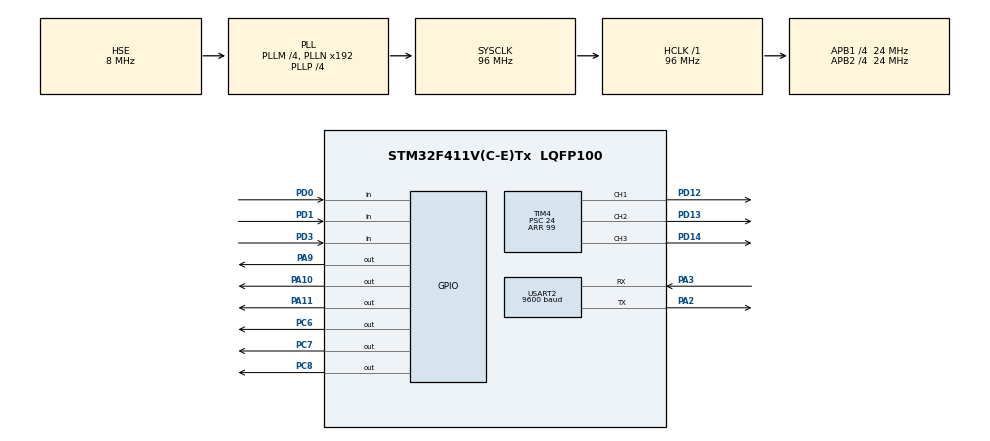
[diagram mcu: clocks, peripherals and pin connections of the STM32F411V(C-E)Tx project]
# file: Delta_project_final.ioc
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Mcu.Family=STM32F4
Mcu.Name=STM32F411V(C-E)Tx
Mcu.Package=LQFP100
NVIC.PriorityGroup=NVIC_PRIORITYGROUP_4
NVIC.TIM3_IRQn=true\:2\:0\:true\:false\:true\:true\:true\:true
NVIC.USART2_IRQn=true\:0\:0\:false\:false\:true\:true\:true\:true
PA10.GPIO_PuPd=GPIO_NOPULL
PA10.GPIO_Speed=GPIO_SPEED_FREQ_VERY_HIGH
PA10.Signal=GPIO_Output
PA11.GPIO_Speed=GPIO_SPEED_FREQ_VERY_HIGH
PA11.Signal=GPIO_Output
PA13.Mode=Serial_Wire
PA13.Signal=SYS_JTMS-SWDIO
PA14.Mode=Serial_Wire
PA14.Signal=SYS_JTCK-SWCLK
PA2.Mode=Asynchronous
PA2.Signal=USART2_TX
PA3.Mode=Asynchronous
PA3.Signal=USART2_RX
PA9.GPIO_PuPd=GPIO_NOPULL
PA9.GPIO_Speed=GPIO_SPEED_FREQ_VERY_HIGH
PA9.Signal=GPIO_Output
PC6.GPIO_PuPd=GPIO_NOPULL
PC6.GPIO_Speed=GPIO_SPEED_FREQ_VERY_HIGH
PC6.Signal=GPIO_Output
PC7.GPIO_PuPd=GPIO_NOPULL
PC7.GPIO_Speed=GPIO_SPEED_FREQ_VERY_HIGH
PC7.Signal=GPIO_Output
PC8.GPIO_PuPd=GPIO_NOPULL
PC8.GPIO_Speed=GPIO_SPEED_FREQ_VERY_HIGH
PC8.Signal=GPIO_Output
PD0.Signal=GPIO_Input
PD1.Signal=GPIO_Input
PD12.GPIO_Speed=GPIO_SPEED_FREQ_VERY_HIGH
PD12.Signal=S_TIM4_CH1
PD13.GPIO_Speed=GPIO_SPEED_FREQ_VERY_HIGH
PD13.Signal=S_TIM4_CH2
PD14.GPIO_Speed=GPIO_SPEED_FREQ_VERY_HIGH
PD14.Signal=S_TIM4_CH3
PD3.Signal=GPIO_Input
PH0\ -\ OSC_IN.Mode=HSE-External-Oscillator
PH0\ -\ OSC_IN.Signal=RCC_OSC_IN
PH1\ -\ OSC_OUT.Mode=HSE-External-Oscillator
PH1\ -\ OSC_OUT.Signal=RCC_OSC_OUT
ProjectManager.HeapSize=0x200
ProjectManager.StackSize=0x400
ProjectManager.TargetToolchain=STM32CubeIDE
RCC.48MHZClocksFreq_Value=96000000
RCC.AHBFreq_Value=96000000
RCC.APB1CLKDivider=RCC_HCLK_DIV4
RCC.APB1Freq_Value=24000000
RCC.APB1TimFreq_Value=48000000
RCC.APB2CLKDivider=RCC_HCLK_DIV4
RCC.APB2Freq_Value=24000000
RCC.APB2TimFreq_Value=48000000
RCC.CortexFreq_Value=96000000
RCC.HCLKFreq_Value=96000000
RCC.HSE_VALUE=8000000
RCC.HSI_VALUE=16000000
RCC.LSE_VALUE=32768
RCC.PLLM=4
RCC.PLLP=RCC_PLLP_DIV4
RCC.PLLSourceVirtual=RCC_PLLSOURCE_HSE
RCC.SYSCLKFreq_VALUE=96000000
RCC.SYSCLKSource=RCC_SYSCLKSOURCE_PLLCLK
RCC.VCOOutputFreq_Value=384000000
SH.S_TIM4_CH1.0=TIM4_CH1,PWM Generation1 CH1
SH.S_TIM4_CH2.0=TIM4_CH2,PWM Generation2 CH2
SH.S_TIM4_CH3.0=TIM4_CH3,PWM Generation3 CH3
TIM3.Period=19
TIM3.Prescaler=24000
TIM4.Channel-PWM\ Generation1\ CH1=TIM_CHANNEL_1
TIM4.Channel-PWM\ Generation2\ CH2=TIM_CHANNEL_2
TIM4.Channel-PWM\ Generation3\ CH3=TIM_CHANNEL_3
TIM4.Period=99
TIM4.Prescaler=24
USART2.BaudRate=9600
USART2.VirtualMode=VM_ASYNC
VP_TIM3_VS_ClockSourceINT.Mode=Internal
VP_TIM4_VS_ClockSourceINT.Mode=Internal
board=custom

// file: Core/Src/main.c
/* USER CODE BEGIN Header */
/**
  ******************************************************************************
  * @file           : main.c
  * @brief          : Main program body
  ******************************************************************************
  * @attention
  *
  * Copyright (c) 2023 STMicroelectronics.
  * All rights reserved.
  *
  * This software is licensed under terms that can be found in the LICENSE file
  * in the root directory of this software component.
  * If no LICENSE file comes with this software, it is provided AS-IS.
  *
  ******************************************************************************
  */
/* USER CODE END Header */
#include "main.h"

/* USER CODE BEGIN Includes */
#include "string.h"
#include "math.h"
#include "stdio.h"
/* USER CODE END Includes */

TIM_HandleTypeDef htim3;
TIM_HandleTypeDef htim4;

UART_HandleTypeDef huart2;

void SystemClock_Config(void);
void MX_GPIO_Init(void);
void MX_TIM3_Init(void);
void MX_TIM4_Init(void);
void MX_USART2_UART_Init(void);

/* USER CODE BEGIN 0 */
uint8_t receive_data[25];
uint8_t send_data[16];
//bien Encoder
int16_t encoder1 =0 ,encoder2 = 0,encoder3 = 0;
int16_t encoder1_prv = 0, encoder2_prv = 0, encoder3_prv = 0;
int16_t e1_prv = 0, e2_prv = 0, e3_prv = 0;
int16_t denta = 0;
int16_t vantoc = 0;
//bien goc quay , xung quay
double goc_quay1 = 0, goc_quay2 = 0, goc_quay3 = 0;
double set_point1 = 0, set_point2 = 0, set_point3 = 0;
int16_t xung_quay1 = 0, xung_quay2 = 0, xung_quay3 = 0;
//dong co 1
int16_t e1 = 0, tong_e1 = 0;
double P1 = 0, I1 = 0, D1 = 0;
double duty1 = 0;
double kp1 =1.2, ki1 = 0, kd1 = 0.03;
//dong co 2
int16_t e2 = 0, tong_e2 = 0;
double P2 = 0, I2 = 0, D2 = 0;
double duty2 = 0;
double kp2 = 1.3, ki2 = 0, kd2 = 0.03;
//dong co 3
int16_t e3 = 0, tong_e3 = 0;
double P3 = 0, I3 = 0, D3 = 0;
double duty3 = 0;
double kp3 = 1.5, ki3 = 0, kd3 = 0.05;

int16_t t_truyen = 0;
int16_t t_nhan = 0;
int16_t t_kich = 0;
int16_t temp = 0;
void Receive_data(void);
/* USER CODE END 0 */

int main(void)
{

  /* MCU Configuration--------------------------------------------------------*/

  /* Reset of all peripherals, Initializes the Flash interface and the Systick. */
  HAL_Init();

  /* Configure the system clock */
  SystemClock_Config();

  /* Initialize all configured peripherals */
  MX_GPIO_Init();
  MX_TIM3_Init();
  MX_TIM4_Init();
  MX_USART2_UART_Init();
  /* USER CODE BEGIN 2 */

  HAL_TIM_Base_Start_IT(&htim3);

  HAL_TIM_PWM_Start(&htim4, TIM_CHANNEL_1);
  HAL_TIM_PWM_Start(&htim4, TIM_CHANNEL_2);
  HAL_TIM_PWM_Start(&htim4, TIM_CHANNEL_3);

  __HAL_UART_ENABLE_IT(&huart2, UART_IT_RXNE);
   __HAL_UART_ENABLE_IT(&huart2, UART_IT_TC);

   HAL_UART_Receive_IT(&huart2, receive_data, 22);

    receive_data[0] = 'A';			//A la goc theta1

     receive_data[1] = '0';			//0la +, 1 la-

     receive_data[2] = '0';
     receive_data[3] = '0';
     receive_data[4] = '0';
     receive_data[5] = '0';
     receive_data[6] = '0';

     receive_data[7] = 'B';			//B goc theta2

     receive_data[8] = '0';			//0la +, 1 la-

     receive_data[9] = '0';
     receive_data[10] = '0';
     receive_data[11] = '0';
     receive_data[12] = '0';
     receive_data[13] = '0';

     receive_data[14] = 'C';			//C goc theta3

     receive_data[15] = '0';			//0la +, 1 la-

     receive_data[16] = '0';
     receive_data[17] = '0';
     receive_data[18] = '0';
     receive_data[19] = '0';
     receive_data[20] = '0';

     receive_data[21] = 'N';			//chuoi he thong khi nen
     receive_data[22] = '0';
     receive_data[23] = '0';
     receive_data[24] = '0';

  /* USER CODE END 2 */

  /* Infinite loop */
  while (1)
  {

    /* USER CODE BEGIN 3 */
	  /////tinh xung cua cac dong co
	  	  	  xung_quay1 = goc_quay1/360;		//xung quay 1
//	  	  	  xung_quay1 = set_point1*998.4/360;
	  	  	  xung_quay1 = round(xung_quay1);

	  	  	  xung_quay2 = goc_quay2/360;		//xung quay 2
//	  	  	  xung_quay2 = set_point1*998.4/360;
	  	  	  xung_quay2 = round(xung_quay2);

	  	  	  xung_quay3 = goc_quay3/360;		//xung quay3
//	  	  	  xung_quay3 = set_point3*998.4/360;
	  	  	  xung_quay3 = round(xung_quay3);

	 t_nhan++;
	 if(t_nhan > 1000)
	 {
		 HAL_UART_Receive_IT(&huart2, receive_data, 25);
		 t_nhan = 0;
	 }
	 else if(receive_data[21] == 'E' || receive_data[21] == 'H' || receive_data[21] == 'S')
	 {
		 Receive_data();
	 }
	 else
	 {
		 if(receive_data[22] == '0' && receive_data[23] == '0' && receive_data[24] == '0')
		 {
			 HAL_GPIO_WritePin(GPIOA, GPIO_PIN_9, GPIO_PIN_SET);
			 HAL_GPIO_WritePin(GPIOA, GPIO_PIN_10, GPIO_PIN_SET);
			 HAL_GPIO_WritePin(GPIOA, GPIO_PIN_11, GPIO_PIN_SET);
		 }
		 if(receive_data[22]!='0')
		 {
			 HAL_GPIO_WritePin(GPIOA, GPIO_PIN_9, GPIO_PIN_RESET);
		 }
		 else HAL_GPIO_WritePin(GPIOA, GPIO_PIN_9, GPIO_PIN_SET);

		 if(receive_data[23]!='0')
		 {
			 HAL_GPIO_WritePin(GPIOA, GPIO_PIN_10, GPIO_PIN_RESET);
		 }
		 else HAL_GPIO_WritePin(GPIOA, GPIO_PIN_10, GPIO_PIN_SET);

		 if(receive_data[24]!='0')
		 {
			 HAL_GPIO_WritePin(GPIOA, GPIO_PIN_11, GPIO_PIN_RESET);
		 }
		 else HAL_GPIO_WritePin(GPIOA, GPIO_PIN_11, GPIO_PIN_SET);
	 }
  }
  /* USER CODE END 3 */
}

void HAL_UART_TxHalfCpltCallback(UART_HandleTypeDef *huart)
{
	if(&huart->Instance == &huart2.Instance)
	{
		HAL_UART_Receive_IT(&huart2, receive_data, 25);
	}
}
void Receive_data()
{
	goc_quay1 = (double)((receive_data[2] - 48)*10000 + (receive_data[3] - 48)*1000 +
			(receive_data[4] - 48)*100 + (receive_data[5] - 48)*10 + (receive_data[6] - 48))/100.0;
	goc_quay2 = (double)((receive_data[9] - 48)*10000 + (receive_data[10] - 48)*1000 +
			(receive_data[11] - 48)*100 + (receive_data[12] - 48)*10 + (receive_data[13] - 48))/100.0;
	goc_quay3 = (double)((receive_data[16] - 48)*10000 + (receive_data[17] - 48)*1000 +
				(receive_data[18] - 48)*100 + (receive_data[19] - 48)*10 + (receive_data[20] - 48))/100.0;
	if((receive_data[1]-48) == 1) goc_quay1 = -goc_quay1;
	if((receive_data[8]-48) == 1) goc_quay2 = -goc_quay2;
	if((receive_data[15]-48) == 1) goc_quay3 = -goc_quay3;
}
///A0abcdeB0abcdeC0abcdeE000
///E/H/S->dong co				N-> khi nen		000: tat het,100: bat bom 110: hut 101:tha

/////dong co: E -> end vi tri dong co		H-> home	S-> send data	vi tri dong co
/// khi nen: G-> gap 	T-> tha  B-> kich bom	-> O:tat bom	1-> valve 1		2-> valve 2

void HAL_TIM_PeriodElapsedCallback(TIM_HandleTypeDef *htim)
{
	if(htim->Instance == htim3.Instance)
	{
		/*Encoder read*/
		/*Set Home*/
		if(receive_data[21] == 'H')
		{
			if(HAL_GPIO_ReadPin(GPIOD, GPIO_PIN_0) == 0)
			{

				__HAL_TIM_SetCompare(&htim4, TIM_CHANNEL_1,0);
				HAL_GPIO_WritePin(GPIOC, GPIO_PIN_6, GPIO_PIN_SET);
			}

			else
			{
				__HAL_TIM_SetCompare(&htim4, TIM_CHANNEL_1,25);
				HAL_GPIO_WritePin(GPIOC, GPIO_PIN_6, GPIO_PIN_SET);
			}

			if(HAL_GPIO_ReadPin(GPIOD, GPIO_PIN_1) == 0)
			{

				__HAL_TIM_SetCompare(&htim4, TIM_CHANNEL_2,0);
				HAL_GPIO_WritePin(GPIOC, GPIO_PIN_7, GPIO_PIN_SET);
			}

			else
			{
				__HAL_TIM_SetCompare(&htim4, TIM_CHANNEL_2,25);
				HAL_GPIO_WritePin(GPIOC, GPIO_PIN_7, GPIO_PIN_SET);
			}

			if(HAL_GPIO_ReadPin(GPIOD, GPIO_PIN_3) == 0)
			{

				__HAL_TIM_SetCompare(&htim4, TIM_CHANNEL_3,0);
				HAL_GPIO_WritePin(GPIOC, GPIO_PIN_8, GPIO_PIN_SET);
			}

			else
			{
				__HAL_TIM_SetCompare(&htim4, TIM_CHANNEL_3,25);
				HAL_GPIO_WritePin(GPIOC, GPIO_PIN_8, GPIO_PIN_SET);
			}
		}
		//PID vitri
		else
		{
			if((receive_data[1] - 48) == '1')
			{
				HAL_GPIO_WritePin(GPIOC, GPIO_PIN_6, GPIO_PIN_RESET);
			}
			else
			{
				HAL_GPIO_WritePin(GPIOC, GPIO_PIN_6, GPIO_PIN_SET);
			}
			__HAL_TIM_SetCompare(&htim4,TIM_CHANNEL_1, 25);

			if((receive_data[8] - 48) == '1')
			{
				HAL_GPIO_WritePin(GPIOC, GPIO_PIN_7, GPIO_PIN_RESET);
			}
			else
			{
				HAL_GPIO_WritePin(GPIOC, GPIO_PIN_7, GPIO_PIN_SET);
			}
			__HAL_TIM_SetCompare(&htim4,TIM_CHANNEL_2, 25);

			if((receive_data[15] - 48) == '1')
			{
				HAL_GPIO_WritePin(GPIOC, GPIO_PIN_8, GPIO_PIN_RESET);
			}
			else
			{
				HAL_GPIO_WritePin(GPIOC, GPIO_PIN_8, GPIO_PIN_SET);
			}
			__HAL_TIM_SetCompare(&htim4,TIM_CHANNEL_3, 25);

		}
}

void SystemClock_Config(void)
{
  RCC_OscInitTypeDef RCC_OscInitStruct = {0};
  RCC_ClkInitTypeDef RCC_ClkInitStruct = {0};

  /** Configure the main internal regulator output voltage
  */
  __HAL_RCC_PWR_CLK_ENABLE();
  __HAL_PWR_VOLTAGESCALING_CONFIG(PWR_REGULATOR_VOLTAGE_SCALE1);

  /** Initializes the RCC Oscillators according to the specified parameters
  * in the RCC_OscInitTypeDef structure.
  */
  RCC_OscInitStruct.OscillatorType = RCC_OSCILLATORTYPE_HSE;
  RCC_OscInitStruct.HSEState = RCC_HSE_ON;
  RCC_OscInitStruct.PLL.PLLState = RCC_PLL_ON;
  RCC_OscInitStruct.PLL.PLLSource = RCC_PLLSOURCE_HSE;
  RCC_OscInitStruct.PLL.PLLM = 4;
  RCC_OscInitStruct.PLL.PLLN = 192;
  RCC_OscInitStruct.PLL.PLLP = RCC_PLLP_DIV4;
  RCC_OscInitStruct.PLL.PLLQ = 4;
  if (HAL_RCC_OscConfig(&RCC_OscInitStruct) != HAL_OK)
  {
    Error_Handler();
  }

  /** Initializes the CPU, AHB and APB buses clocks
  */
  RCC_ClkInitStruct.ClockType = RCC_CLOCKTYPE_HCLK|RCC_CLOCKTYPE_SYSCLK
                              |RCC_CLOCKTYPE_PCLK1|RCC_CLOCKTYPE_PCLK2;
  RCC_ClkInitStruct.SYSCLKSource = RCC_SYSCLKSOURCE_PLLCLK;
  RCC_ClkInitStruct.AHBCLKDivider = RCC_SYSCLK_DIV1;
  RCC_ClkInitStruct.APB1CLKDivider = RCC_HCLK_DIV4;
  RCC_ClkInitStruct.APB2CLKDivider = RCC_HCLK_DIV4;

  if (HAL_RCC_ClockConfig(&RCC_ClkInitStruct, FLASH_LATENCY_3) != HAL_OK)
  {
    Error_Handler();
  }
}

void MX_TIM3_Init(void)
{

  TIM_ClockConfigTypeDef sClockSourceConfig = {0};
  TIM_MasterConfigTypeDef sMasterConfig = {0};

  htim3.Instance = TIM3;
  htim3.Init.Prescaler = 24000;
  htim3.Init.CounterMode = TIM_COUNTERMODE_UP;
  htim3.Init.Period = 19;
  htim3.Init.ClockDivision = TIM_CLOCKDIVISION_DIV1;
  htim3.Init.AutoReloadPreload = TIM_AUTORELOAD_PRELOAD_DISABLE;
  if (HAL_TIM_Base_Init(&htim3) != HAL_OK)
  {
    Error_Handler();
  }
  sClockSourceConfig.ClockSource = TIM_CLOCKSOURCE_INTERNAL;
  if (HAL_TIM_ConfigClockSource(&htim3, &sClockSourceConfig) != HAL_OK)
  {
    Error_Handler();
  }
  sMasterConfig.MasterOutputTrigger = TIM_TRGO_RESET;
  sMasterConfig.MasterSlaveMode = TIM_MASTERSLAVEMODE_DISABLE;
  if (HAL_TIMEx_MasterConfigSynchronization(&htim3, &sMasterConfig) != HAL_OK)
  {
    Error_Handler();
  }

}

void MX_TIM4_Init(void)
{

  TIM_ClockConfigTypeDef sClockSourceConfig = {0};
  TIM_MasterConfigTypeDef sMasterConfig = {0};
  TIM_OC_InitTypeDef sConfigOC = {0};

  htim4.Instance = TIM4;
  htim4.Init.Prescaler = 24;
  htim4.Init.CounterMode = TIM_COUNTERMODE_UP;
  htim4.Init.Period = 99;
  htim4.Init.ClockDivision = TIM_CLOCKDIVISION_DIV1;
  htim4.Init.AutoReloadPreload = TIM_AUTORELOAD_PRELOAD_DISABLE;
  if (HAL_TIM_Base_Init(&htim4) != HAL_OK)
  {
    Error_Handler();
  }
  sClockSourceConfig.ClockSource = TIM_CLOCKSOURCE_INTERNAL;
  if (HAL_TIM_ConfigClockSource(&htim4, &sClockSourceConfig) != HAL_OK)
  {
    Error_Handler();
  }
  if (HAL_TIM_PWM_Init(&htim4) != HAL_OK)
  {
    Error_Handler();
  }
  sMasterConfig.MasterOutputTrigger = TIM_TRGO_RESET;
  sMasterConfig.MasterSlaveMode = TIM_MASTERSLAVEMODE_DISABLE;
  if (HAL_TIMEx_MasterConfigSynchronization(&htim4, &sMasterConfig) != HAL_OK)
  {
    Error_Handler();
  }
  sConfigOC.OCMode = TIM_OCMODE_PWM1;
  sConfigOC.Pulse = 0;
  sConfigOC.OCPolarity = TIM_OCPOLARITY_HIGH;
  sConfigOC.OCFastMode = TIM_OCFAST_DISABLE;
  if (HAL_TIM_PWM_ConfigChannel(&htim4, &sConfigOC, TIM_CHANNEL_1) != HAL_OK)
  {
    Error_Handler();
  }
  if (HAL_TIM_PWM_ConfigChannel(&htim4, &sConfigOC, TIM_CHANNEL_2) != HAL_OK)
  {
    Error_Handler();
  }
  if (HAL_TIM_PWM_ConfigChannel(&htim4, &sConfigOC, TIM_CHANNEL_3) != HAL_OK)
  {
    Error_Handler();
  }
  HAL_TIM_MspPostInit(&htim4);

}

void MX_USART2_UART_Init(void)
{

  huart2.Instance = USART2;
  huart2.Init.BaudRate = 9600;
  huart2.Init.WordLength = UART_WORDLENGTH_8B;
  huart2.Init.StopBits = UART_STOPBITS_1;
  huart2.Init.Parity = UART_PARITY_NONE;
  huart2.Init.Mode = UART_MODE_TX_RX;
  huart2.Init.HwFlowCtl = UART_HWCONTROL_NONE;
  huart2.Init.OverSampling = UART_OVERSAMPLING_16;
  if (HAL_UART_Init(&huart2) != HAL_OK)
  {
    Error_Handler();
  }

}

void MX_GPIO_Init(void)
{
  GPIO_InitTypeDef GPIO_InitStruct = {0};

  /* GPIO Ports Clock Enable */
  __HAL_RCC_GPIOH_CLK_ENABLE();
  __HAL_RCC_GPIOA_CLK_ENABLE();
  __HAL_RCC_GPIOD_CLK_ENABLE();
  __HAL_RCC_GPIOC_CLK_ENABLE();

  /*Configure GPIO pin Output Level */
  HAL_GPIO_WritePin(GPIOC, GPIO_PIN_6|GPIO_PIN_7|GPIO_PIN_8, GPIO_PIN_RESET);

  /*Configure GPIO pin Output Level */
  HAL_GPIO_WritePin(GPIOA, GPIO_PIN_9|GPIO_PIN_10|GPIO_PIN_11, GPIO_PIN_RESET);

  /*Configure GPIO pins : PC6 PC7 PC8 */
  GPIO_InitStruct.Pin = GPIO_PIN_6|GPIO_PIN_7|GPIO_PIN_8;
  GPIO_InitStruct.Mode = GPIO_MODE_OUTPUT_PP;
  GPIO_InitStruct.Pull = GPIO_NOPULL;
  GPIO_InitStruct.Speed = GPIO_SPEED_FREQ_VERY_HIGH;
  HAL_GPIO_Init(GPIOC, &GPIO_InitStruct);

  /*Configure GPIO pins : PA9 PA10 PA11 */
  GPIO_InitStruct.Pin = GPIO_PIN_9|GPIO_PIN_10|GPIO_PIN_11;
  GPIO_InitStruct.Mode = GPIO_MODE_OUTPUT_PP;
  GPIO_InitStruct.Pull = GPIO_NOPULL;
  GPIO_InitStruct.Speed = GPIO_SPEED_FREQ_VERY_HIGH;
  HAL_GPIO_Init(GPIOA, &GPIO_InitStruct);

  /*Configure GPIO pins : PD0 PD1 PD3 */
  GPIO_InitStruct.Pin = GPIO_PIN_0|GPIO_PIN_1|GPIO_PIN_3;
  GPIO_InitStruct.Mode = GPIO_MODE_INPUT;
  GPIO_InitStruct.Pull = GPIO_NOPULL;
  HAL_GPIO_Init(GPIOD, &GPIO_InitStruct);

}

void Error_Handler(void)
{
  __disable_irq();
  while (1)
  {
  }
}
